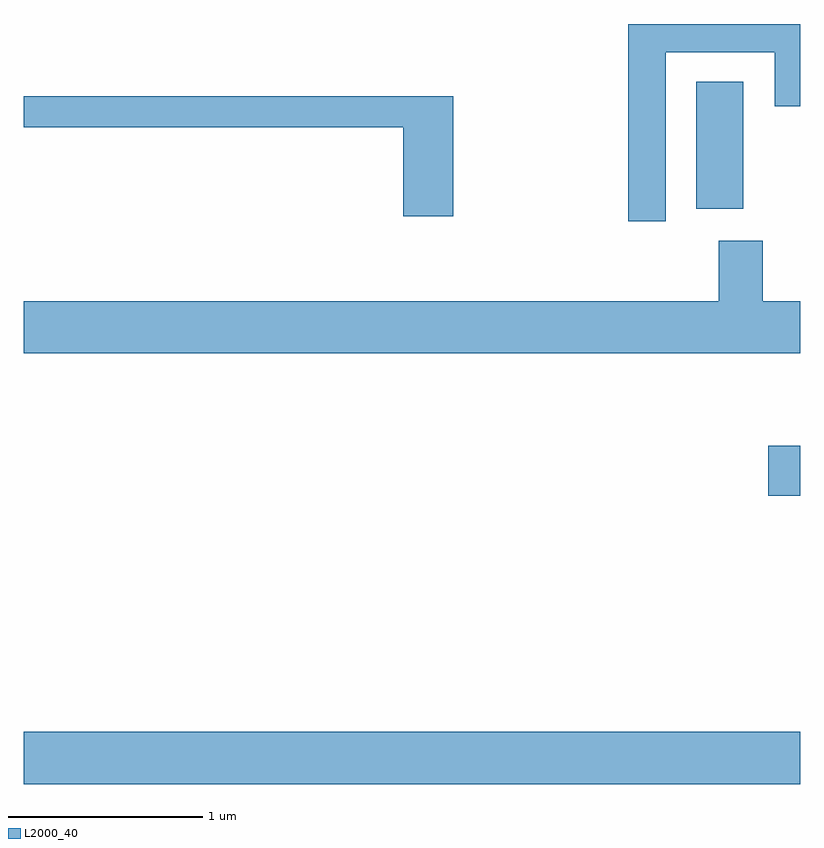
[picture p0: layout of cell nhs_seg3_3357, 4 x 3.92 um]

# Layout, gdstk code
import gdstk
lib = gdstk.Library(unit=1e-6, precision=1e-09)
def R(c, l, rs):  # rectangles x0, y0, x1, y1
    for r in rs: c.add(gdstk.rectangle(r[:2], r[2:], *l))
def P(c, l, *ps):  # polygons
    for p in ps: c.add(gdstk.Polygon(p, *l))
L2000_40 = (2000, 40)

nhs_seg3_3357 = lib.new_cell('nhs_seg3_3357')
R(nhs_seg3_3357, L2000_40, [(283.611,1165.976,287.611,1166.244), (287.446,1167.461,287.611,1167.719), (287.076,1168.941,287.319,1169.594)])
P(nhs_seg3_3357, L2000_40, [(286.919,1169.746),(287.481,1169.746),(287.481,1169.468),(287.611,1169.468),(287.611,1169.892),(286.726,1169.892),(286.726,1168.876),(286.919,1168.876)],
  [(285.824,1169.519),(283.611,1169.519),(283.611,1169.361),(285.566,1169.361),(285.566,1168.901),(285.824,1168.901)],
  [(287.611,1168.464),(287.419,1168.464),(287.419,1168.774),(287.191,1168.774),(287.191,1168.464),(283.611,1168.464),(283.611,1168.196),(287.611,1168.196)])

lib.write_gds('nhs_seg3_3357.gds')
